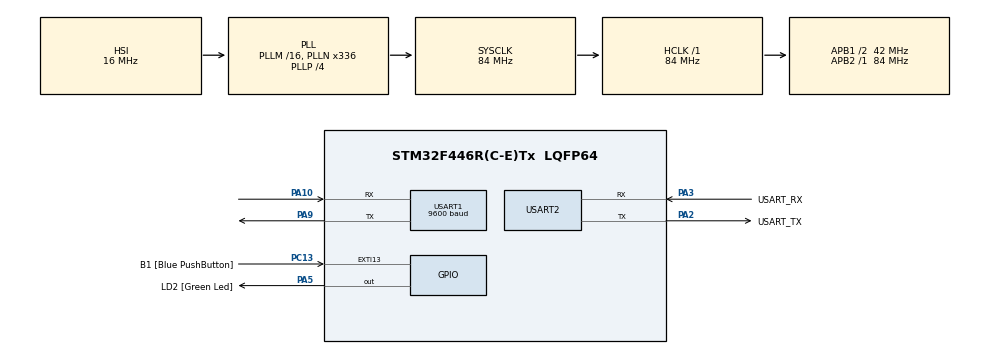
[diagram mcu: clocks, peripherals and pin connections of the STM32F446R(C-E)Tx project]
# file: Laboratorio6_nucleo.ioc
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Mcu.Family=STM32F4
Mcu.Name=STM32F446R(C-E)Tx
Mcu.Package=LQFP64
NVIC.PriorityGroup=NVIC_PRIORITYGROUP_0
NVIC.USART1_IRQn=true\:0\:0\:false\:false\:true\:true\:true\:true
NVIC.USART2_IRQn=true\:0\:0\:false\:false\:true\:true\:true\:true
PA10.Mode=Asynchronous
PA10.Signal=USART1_RX
PA13.GPIO_Label=TMS
PA13.Mode=Serial_Wire
PA13.Signal=SYS_JTMS-SWDIO
PA14.GPIO_Label=TCK
PA14.Mode=Serial_Wire
PA14.Signal=SYS_JTCK-SWCLK
PA2.GPIO_Label=USART_TX
PA2.Mode=Asynchronous
PA2.Signal=USART2_TX
PA3.GPIO_Label=USART_RX
PA3.Mode=Asynchronous
PA3.Signal=USART2_RX
PA5.GPIO_Label=LD2 [Green Led]
PA5.Signal=GPIO_Output
PA9.Mode=Asynchronous
PA9.Signal=USART1_TX
PB3.GPIO_Label=SWO
PB3.Signal=SYS_JTDO-SWO
PC13.GPIO_Label=B1 [Blue PushButton]
PC13.GPIO_ModeDefaultEXTI=GPIO_MODE_IT_FALLING
PC13.Signal=GPXTI13
PC14-OSC32_IN.Mode=LSE-External-Oscillator
PC14-OSC32_IN.Signal=RCC_OSC32_IN
PC15-OSC32_OUT.Mode=LSE-External-Oscillator
PC15-OSC32_OUT.Signal=RCC_OSC32_OUT
PH0-OSC_IN.Mode=HSE-External-Oscillator
PH0-OSC_IN.Signal=RCC_OSC_IN
PH1-OSC_OUT.Mode=HSE-External-Oscillator
PH1-OSC_OUT.Signal=RCC_OSC_OUT
ProjectManager.HeapSize=0x200
ProjectManager.StackSize=0x400
ProjectManager.TargetToolchain=STM32CubeIDE
RCC.48MHZClocksFreq_Value=84000000
RCC.AHBFreq_Value=84000000
RCC.APB1CLKDivider=RCC_HCLK_DIV2
RCC.APB1Freq_Value=42000000
RCC.APB1TimFreq_Value=84000000
RCC.APB2Freq_Value=84000000
RCC.APB2TimFreq_Value=84000000
RCC.CortexFreq_Value=84000000
RCC.FLatency-AdvancedSettings=FLASH_LATENCY_2
RCC.HCLKFreq_Value=84000000
RCC.HSE_VALUE=8000000
RCC.HSI_VALUE=16000000
RCC.PLLN=336
RCC.PLLP=RCC_PLLP_DIV4
RCC.SYSCLKFreq_VALUE=84000000
RCC.SYSCLKSource=RCC_SYSCLKSOURCE_PLLCLK
RCC.USBFreq_Value=168000000
RCC.VCOOutputFreq_Value=336000000
USART1.BaudRate=9600
USART1.VirtualMode=VM_ASYNC
USART2.VirtualMode=VM_ASYNC
board=NUCLEO-F446RE

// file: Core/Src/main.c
/* USER CODE BEGIN Header */
/**
  ******************************************************************************
  * @file           : main.c
  * @brief          : Main program body
  ******************************************************************************
  * @attention
  *
  * Copyright (c) 2025 STMicroelectronics.
  * All rights reserved.
  *
  * This software is licensed under terms that can be found in the LICENSE file
  * in the root directory of this software component.
  * If no LICENSE file comes with this software, it is provided AS-IS.
  *
  ******************************************************************************
  */
/* USER CODE END Header */
#include "main.h"

UART_HandleTypeDef huart1;
UART_HandleTypeDef huart2;

/* USER CODE BEGIN PV */

uint8_t RX_buffer;
uint8_t RX1_buffer; // variable que recibe datos desde ATmega328p

//Mensajes de envio:

uint8_t buffer_UP[3]= "UP\n";
uint8_t buffer_DOWN[5] = "DOWN\n";
uint8_t buffer_left[5] = "LEFT\n";
uint8_t buffer_right[6] = "RIGHT\n";

uint8_t buffer_forward[8] = "FORWARD\n";
uint8_t buffer_backward[9] = "BACKWARD\n";

/* USER CODE END PV */

void SystemClock_Config(void);
static void MX_GPIO_Init(void);
static void MX_USART2_UART_Init(void);
static void MX_USART1_UART_Init(void);

int main(void)
{

  /* MCU Configuration--------------------------------------------------------*/

  /* Reset of all peripherals, Initializes the Flash interface and the Systick. */
  HAL_Init();

  /* Configure the system clock */
  SystemClock_Config();

  /* Initialize all configured peripherals */
  MX_GPIO_Init();
  MX_USART2_UART_Init();
  MX_USART1_UART_Init();
  /* USER CODE BEGIN 2 */

  HAL_UART_Receive_IT(&huart1, &RX1_buffer, 1);

  /* USER CODE END 2 */

  /* Infinite loop */
  while (1)
  {

    /* USER CODE BEGIN 3 */

	  switch (RX1_buffer){

	  case 'A':

		  HAL_GPIO_TogglePin(GPIOA, LD2_Pin);
		  HAL_UART_Transmit(&huart2, buffer_left, 5, 10);
		  RX1_buffer = 0; // Limpiar buffer
		  break;

	  case 'B':

		  HAL_GPIO_TogglePin(GPIOA, LD2_Pin);
		  HAL_UART_Transmit(&huart2, buffer_UP, 3, 10);
		  RX1_buffer = 0; // Limpiar buffer
		  break;

	  case 'C':

		  HAL_GPIO_TogglePin(GPIOA, LD2_Pin);
		  HAL_UART_Transmit(&huart2, buffer_DOWN, 5, 10);
		  RX1_buffer = 0; // Limpiar buffer
		  break;

	  case 'D':

		  HAL_GPIO_TogglePin(GPIOA, LD2_Pin);
		  HAL_UART_Transmit(&huart2, buffer_right,6, 10);
		  RX1_buffer = 0; // Limpiar buffer
		  break;

	  case 'E':

		  HAL_GPIO_TogglePin(GPIOA, LD2_Pin);
		  HAL_UART_Transmit(&huart2, buffer_forward, 8, 10);
		  RX1_buffer = 0; // Limpiar buffer
		  break;

	  case 'F':

		  HAL_GPIO_TogglePin(GPIOA, LD2_Pin);
		  HAL_UART_Transmit(&huart2, buffer_backward, 9, 10);
		  RX1_buffer = 0; // Limpiar buffer
		  break;

	  default:
		  break;

	  }

  }
  /* USER CODE END 3 */
}

void SystemClock_Config(void)
{
  RCC_OscInitTypeDef RCC_OscInitStruct = {0};
  RCC_ClkInitTypeDef RCC_ClkInitStruct = {0};

  /** Configure the main internal regulator output voltage
  */
  __HAL_RCC_PWR_CLK_ENABLE();
  __HAL_PWR_VOLTAGESCALING_CONFIG(PWR_REGULATOR_VOLTAGE_SCALE3);

  /** Initializes the RCC Oscillators according to the specified parameters
  * in the RCC_OscInitTypeDef structure.
  */
  RCC_OscInitStruct.OscillatorType = RCC_OSCILLATORTYPE_HSI;
  RCC_OscInitStruct.HSIState = RCC_HSI_ON;
  RCC_OscInitStruct.HSICalibrationValue = RCC_HSICALIBRATION_DEFAULT;
  RCC_OscInitStruct.PLL.PLLState = RCC_PLL_ON;
  RCC_OscInitStruct.PLL.PLLSource = RCC_PLLSOURCE_HSI;
  RCC_OscInitStruct.PLL.PLLM = 16;
  RCC_OscInitStruct.PLL.PLLN = 336;
  RCC_OscInitStruct.PLL.PLLP = RCC_PLLP_DIV4;
  RCC_OscInitStruct.PLL.PLLQ = 2;
  RCC_OscInitStruct.PLL.PLLR = 2;
  if (HAL_RCC_OscConfig(&RCC_OscInitStruct) != HAL_OK)
  {
    Error_Handler();
  }

  /** Initializes the CPU, AHB and APB buses clocks
  */
  RCC_ClkInitStruct.ClockType = RCC_CLOCKTYPE_HCLK|RCC_CLOCKTYPE_SYSCLK
                              |RCC_CLOCKTYPE_PCLK1|RCC_CLOCKTYPE_PCLK2;
  RCC_ClkInitStruct.SYSCLKSource = RCC_SYSCLKSOURCE_PLLCLK;
  RCC_ClkInitStruct.AHBCLKDivider = RCC_SYSCLK_DIV1;
  RCC_ClkInitStruct.APB1CLKDivider = RCC_HCLK_DIV2;
  RCC_ClkInitStruct.APB2CLKDivider = RCC_HCLK_DIV1;

  if (HAL_RCC_ClockConfig(&RCC_ClkInitStruct, FLASH_LATENCY_2) != HAL_OK)
  {
    Error_Handler();
  }
}

static void MX_USART1_UART_Init(void)
{

  huart1.Instance = USART1;
  huart1.Init.BaudRate = 9600;
  huart1.Init.WordLength = UART_WORDLENGTH_8B;
  huart1.Init.StopBits = UART_STOPBITS_1;
  huart1.Init.Parity = UART_PARITY_NONE;
  huart1.Init.Mode = UART_MODE_TX_RX;
  huart1.Init.HwFlowCtl = UART_HWCONTROL_NONE;
  huart1.Init.OverSampling = UART_OVERSAMPLING_16;
  if (HAL_UART_Init(&huart1) != HAL_OK)
  {
    Error_Handler();
  }

}

static void MX_USART2_UART_Init(void)
{

  huart2.Instance = USART2;
  huart2.Init.BaudRate = 115200;
  huart2.Init.WordLength = UART_WORDLENGTH_8B;
  huart2.Init.StopBits = UART_STOPBITS_1;
  huart2.Init.Parity = UART_PARITY_NONE;
  huart2.Init.Mode = UART_MODE_TX_RX;
  huart2.Init.HwFlowCtl = UART_HWCONTROL_NONE;
  huart2.Init.OverSampling = UART_OVERSAMPLING_16;
  if (HAL_UART_Init(&huart2) != HAL_OK)
  {
    Error_Handler();
  }

}

static void MX_GPIO_Init(void)
{
  GPIO_InitTypeDef GPIO_InitStruct = {0};

  /* GPIO Ports Clock Enable */
  __HAL_RCC_GPIOC_CLK_ENABLE();
  __HAL_RCC_GPIOH_CLK_ENABLE();
  __HAL_RCC_GPIOA_CLK_ENABLE();
  __HAL_RCC_GPIOB_CLK_ENABLE();

  /*Configure GPIO pin Output Level */
  HAL_GPIO_WritePin(LD2_GPIO_Port, LD2_Pin, GPIO_PIN_RESET);

  /*Configure GPIO pin : B1_Pin */
  GPIO_InitStruct.Pin = B1_Pin;
  GPIO_InitStruct.Mode = GPIO_MODE_IT_FALLING;
  GPIO_InitStruct.Pull = GPIO_NOPULL;
  HAL_GPIO_Init(B1_GPIO_Port, &GPIO_InitStruct);

  /*Configure GPIO pin : LD2_Pin */
  GPIO_InitStruct.Pin = LD2_Pin;
  GPIO_InitStruct.Mode = GPIO_MODE_OUTPUT_PP;
  GPIO_InitStruct.Pull = GPIO_NOPULL;
  GPIO_InitStruct.Speed = GPIO_SPEED_FREQ_LOW;
  HAL_GPIO_Init(LD2_GPIO_Port, &GPIO_InitStruct);

}

/* USER CODE BEGIN 4 */

void HAL_UART_RxCpltCallback(UART_HandleTypeDef *huart)
{
  /* Prevent unused argument(s) compilation warning */
  UNUSED(huart);
  /* NOTE: This function should not be modified, when the callback is needed,
           the HAL_UART_RxCpltCallback could be implemented in the user file
   */

  HAL_UART_Receive_IT(&huart1, &RX1_buffer, 1);

}

/* USER CODE END 4 */

void Error_Handler(void)
{
  __disable_irq();
  while (1)
  {
  }
}
